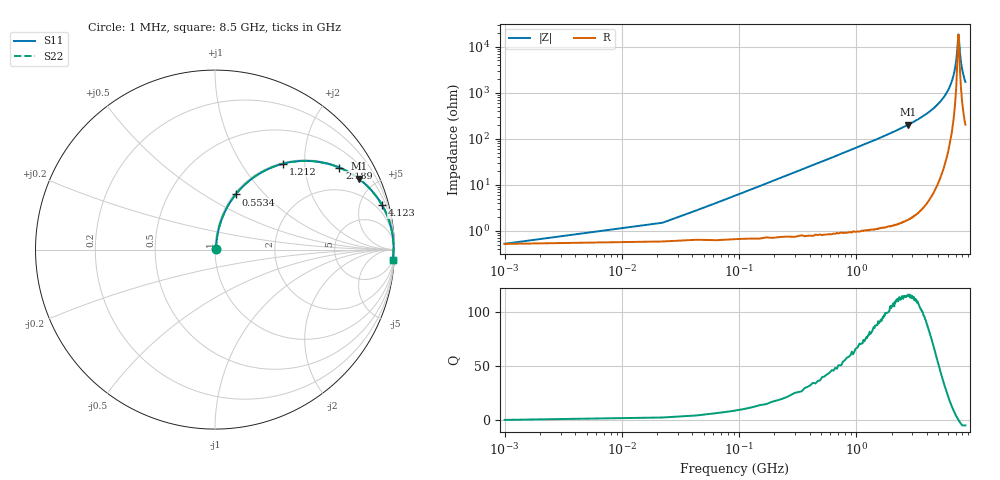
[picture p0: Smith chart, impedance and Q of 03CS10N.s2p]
! Coilcraft 0302CS-10N Chip Inductor
! 18 February 2004
# MHZ S MA R 50
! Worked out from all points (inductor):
!   401 points, 1 MHz to 8.5 GHz, reference 50 ohm
!   read as one part in series: L = 10 nH near 43.49 MHz
!   highest Q = 115 at 2.763 GHz (marker M1), where L = 11.6 nH
!   self-resonance near 7.416 GHz
!   S11 on the Smith chart (normalised r, x): 1 MHz: 1.01, +0.00; 553.4 MHz: 1.02, +0.70; 1.212 GHz: 1.02, +1.56; 2.189 GHz: 1.03, +3.01; 4.123 GHz: 1.10, +7.49; 8.5 GHz: 5, -34
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1  0.005479 6.5  0.995 -0.0  0.995 -0.0  0.005479 6.5
85.99  0.054 80.0  0.992 -3.1  0.992 -3.1  0.054 80.0
149.732  0.093 80.4  0.989 -5.3  0.989 -5.3  0.093 80.4
298.465  0.183 77.1  0.976 -10.6  0.976 -10.6  0.183 77.1
553.435  0.328 69.5  0.937 -19.1  0.937 -19.1  0.328 69.5
1212.107  0.612 51.5  0.783 -37.8  0.783 -37.8  0.612 51.5
1424.582  0.677 46.7  0.728 -42.6  0.728 -42.6  0.677 46.7
2189.492  0.83 33.4  0.551 -56.1  0.551 -56.1  0.83 33.4
2763.175  0.893 26.3  0.443 -63.2  0.443 -63.2  0.893 26.3
2848.165  0.9 25.4  0.429 -64.1  0.429 -64.1  0.9 25.4
4123.015  0.963 14.9  0.257 -74.4  0.257 -74.4  0.963 14.9
4250.5  0.967 14.1  0.243 -75.2  0.243 -75.2  0.967 14.1
5674.083  0.99 6.6  0.115 -81.5  0.115 -81.5  0.99 6.6
6566.478  0.994 3.0  0.053 -82.1  0.053 -82.1  0.994 3.0
6906.438  0.995 1.8  0.031 -79.3  0.031 -79.3  0.995 1.8
7097.665  0.995 1.1  0.02 -74.0  0.02 -74.0  0.995 1.1
7373.883  0.995 0.2  0.006079 -27.3  0.006079 -27.3  0.995 0.2
7437.625  0.995 -0.0  0.005537 8.9  0.005537 8.9  0.995 -0.0
7628.853  0.994 -0.7  0.013 63.3  0.013 63.3  0.994 -0.7
7798.833  0.994 -1.2  0.022 73.1  0.022 73.1  0.994 -1.2
8138.793  0.993 -2.2  0.04 78.5  0.04 78.5  0.993 -2.2
8500  0.991 -3.3  0.058 79.9  0.058 79.9  0.991 -3.3
